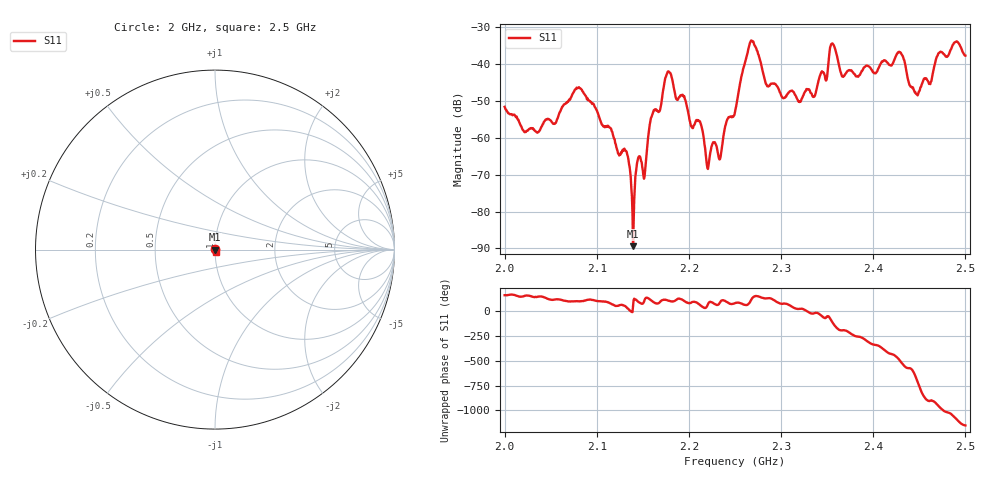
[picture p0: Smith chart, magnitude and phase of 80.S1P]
! C:\Users\rflab\Downloads\dp2_kdzw\80.S1P
! Touchstone 1.1 file saved by VNA.EXE V1.65 (www.ke5fx.com/gpib/readme.htm)
! 12/12/2024 6:52:10 PM
!  Source: HEWLETT PACKARD,8753D,0,6.14
!  Min freq: 2.000000E+009 Hz
!  Max freq: 2.500000E+009 Hz
!  Points: 801
!  Params: S21
# GHZ S MA R 50
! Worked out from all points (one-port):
!   801 points, 2 GHz to 2.5 GHz, reference 50 ohm
!   lowest |S11| = -89.4 dB at 2.139 GHz (marker M1), VSWR 1.00, Z = 50 + j0.00273 ohm
!   |S11| at or under -10 dB: start of sweep to end of sweep
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2  0.002608 162.6
2.035625  0.001164 145.9
2.0625  0.002625 113.2
2.0825  0.004602 101.8
2.125  0.000591 62.0
2.1325  0.000637 39.1
2.139375  3.4e-05 53.4
2.144375  0.000497 101.7
2.151875  0.000297 114.3
2.159375  0.001895 107.2
2.17625  0.00734 111.8
2.1875  0.003226 124.4
2.211875  0.001662 65.7
2.220625  0.000376 70.1
2.23375  0.000512 88.8
2.25  0.002236 82.6
2.268125  0.02045 124.5
2.285  0.004952 130.3
2.3125  0.004227 42.3
2.33625  0.003601 -18.1
2.355625  0.01882 -110.7
2.36625  0.006714 166.6
2.375  0.008113 138.7
2.428125  0.01451 -129.2
2.4375  0.006225 146.2
2.4475  0.003834 19.6
2.471875  0.01412 112.6
2.5  0.01284 -73.7
